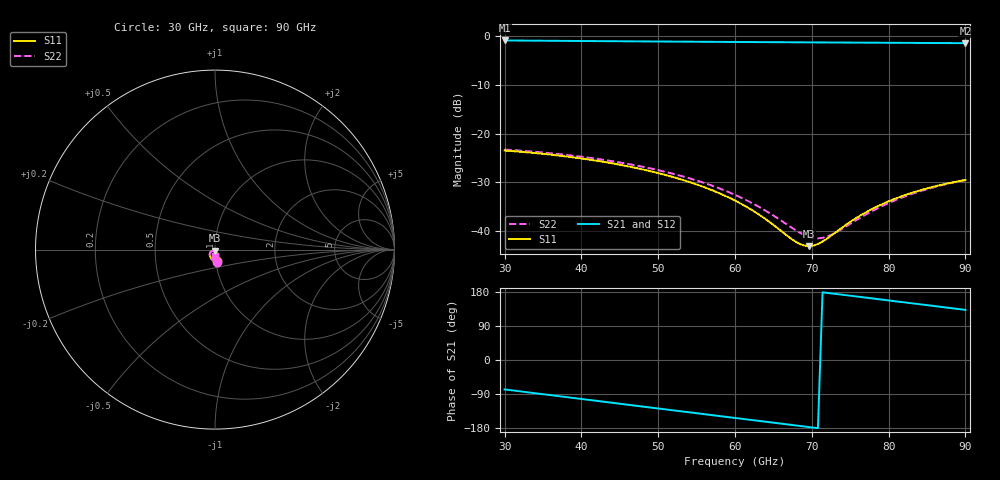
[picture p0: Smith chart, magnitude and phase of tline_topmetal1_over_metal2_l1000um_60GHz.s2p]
#  GHZ S DB R 50
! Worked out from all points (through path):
!   101 points, 30 GHz to 90 GHz, reference 50 ohm
!   highest |S21| = -0.88 dB at 30 GHz (marker M1); lowest = -1.4 dB at 90 GHz (marker M2)
!   group delay of S21, straight-line fit = 6.94 ps
!   lowest |S11| = -43.1 dB at 69.6 GHz (marker M3), VSWR 1.01, Z = 49.7 - j0.641 ohm
!   |S11| at or under -10 dB: start of sweep to end of sweep
!   |S22| runs from -41.5 to -23.3 dB; largest |S21 - S12| = 1e-13
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30  -23.47 -79.9  -0.88 -77.6  -0.88 -77.6  -23.27 -79.9
34.8  -24.12 -94.2  -0.94 -89.7  -0.94 -89.7  -23.85 -94.1
37.2  -24.54 -101.3  -0.96 -95.8  -0.96 -95.8  -24.23 -101.1
40.2  -25.15 -109.9  -1.00 -103.4  -1.00 -103.4  -24.79 -109.6
45  -26.39 -123.2  -1.05 -115.4  -1.05 -115.4  -25.93 -122.8
50.4  -28.27 -137.2  -1.10 -128.9  -1.10 -128.9  -27.65 -136.5
53.4  -29.61 -144.2  -1.13 -136.4  -1.13 -136.4  -28.87 -143.5
55.8  -30.89 -149.3  -1.16 -142.4  -1.16 -142.4  -30.03 -148.4
60  -33.75 -155.7  -1.19 -152.9  -1.19 -152.9  -32.57 -154.9
61.8  -35.31 -156.7  -1.21 -157.4  -1.21 -157.4  -33.92 -156.2
63.6  -37.13 -155.7  -1.23 -161.9  -1.23 -161.9  -35.47 -156.0
67.8  -42.09 -134.8  -1.26 -172.4  -1.26 -172.4  -39.73 -143.0
69  -42.98 -120.9  -1.27 -175.4  -1.27 -175.4  -40.80 -133.7
69.6  -43.10 -113.0  -1.28 -176.9  -1.28 -176.9  -41.18 -128.0
70.2  -42.99 -105.1  -1.28 -178.4  -1.28 -178.4  -41.43 -121.7
71.4  -42.15 -91.4  -1.29 178.6  -1.29 178.6  -41.40 -108.7
72.6  -40.85 -81.6  -1.30 175.6  -1.30 175.6  -40.74 -97.1
76.2  -36.93 -70.4  -1.33 166.7  -1.33 166.7  -37.37 -78.9
78  -35.36 -70.1  -1.34 162.2  -1.34 162.2  -35.77 -76.5
80.4  -33.65 -72.1  -1.36 156.2  -1.36 156.2  -33.97 -76.6
84.6  -31.42 -78.8  -1.40 145.7  -1.40 145.7  -31.59 -81.3
90  -29.52 -90.0  -1.44 132.3  -1.44 132.3  -29.53 -91.2
